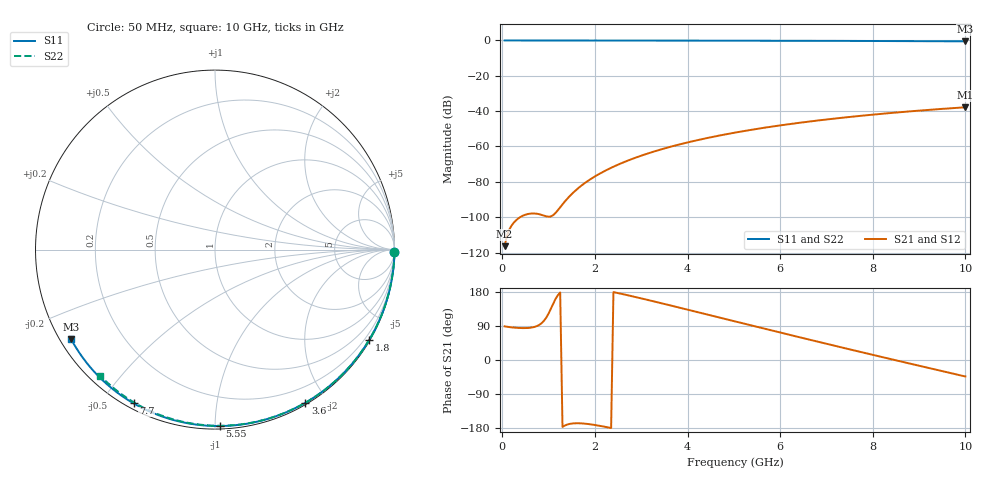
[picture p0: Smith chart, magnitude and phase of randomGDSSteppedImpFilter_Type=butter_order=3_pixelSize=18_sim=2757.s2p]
! freq	dB(S11)	phase(S11)	dB(S12)	phase(S12)
!  dB(S21)	phase(S21)	dB(S22)	phase(S22)
!S-par simulation data
#  GHz  S  DB  R 50
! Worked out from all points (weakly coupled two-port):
!   200 points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, 50 MHz to 10 GHz, reference 50 ohm
!   highest |S21| = -37.81 dB at 10 GHz (marker M1); lowest = -116.4 dB at 50 MHz (marker M2)
!   lowest |S11| = -0.5 dB at 10 GHz (marker M3), VSWR 34.97, Z = 1.55 - j14.3 ohm
!   |S11| at or under -10 dB: nowhere
!   |S22| runs from -0.4 to 0.0 dB; largest |S21 - S12| = 0
!   S11 on the Smith chart (normalised r, x): 50 MHz: open; 1.8 GHz: 0.03, -3.67; 3.6 GHz: 0.02, -1.75; 5.55 GHz: 0.02, -1.03; 7.7 GHz: 0.02, -0.60; 10 GHz: 0.03, -0.29
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0.05  -0.00 -0.9  -116.41 88.8  -116.41 88.8  -0.00 -0.8
0.45  -0.01 -7.7  -99.10 84.2  -99.10 84.2  -0.01 -6.9
0.9  -0.02 -15.4  -99.14 103.5  -99.14 103.5  -0.02 -13.7
1.3  -0.03 -22.1  -92.73 -176.6  -92.73 -176.6  -0.02 -19.7
1.75  -0.04 -29.7  -81.31 -167.6  -81.31 -167.6  -0.03 -26.4
1.8  -0.04 -30.5  -80.35 -168.2  -80.35 -168.2  -0.03 -27.1
1.85  -0.04 -31.3  -79.45 -168.9  -79.45 -168.9  -0.04 -27.9
2.05  -0.04 -34.6  -76.17 -172.5  -76.17 -172.5  -0.04 -30.8
2.2  -0.05 -37.1  -74.02 -175.8  -74.02 -175.8  -0.04 -33.0
2.5  -0.05 -42.0  -70.27 176.6  -70.27 176.6  -0.05 -37.4
2.9  -0.06 -48.4  -66.12 165.5  -66.12 165.5  -0.06 -43.2
3.4  -0.07 -56.3  -61.87 150.9  -61.87 150.9  -0.07 -50.3
3.6  -0.08 -59.4  -60.38 144.9  -60.38 144.9  -0.07 -53.1
4.3  -0.10 -70.1  -55.91 123.8  -55.91 123.8  -0.09 -62.7
5.05  -0.12 -81.2  -52.03 101.1  -52.03 101.1  -0.11 -72.7
5.55  -0.14 -88.4  -49.83 86.0  -49.83 86.0  -0.13 -79.2
6.1  -0.17 -96.2  -47.70 69.5  -47.70 69.5  -0.15 -86.2
6.7  -0.20 -104.5  -45.65 51.7  -45.65 51.7  -0.18 -93.7
7.7  -0.27 -117.9  -42.75 22.3  -42.75 22.3  -0.24 -105.8
8.35  -0.32 -126.5  -41.14 3.5  -41.14 3.5  -0.29 -113.4
9.2  -0.41 -137.6  -39.30 -20.9  -39.30 -20.9  -0.36 -123.2
10  -0.50 -148.0  -37.81 -43.5  -37.81 -43.5  -0.45 -132.4
